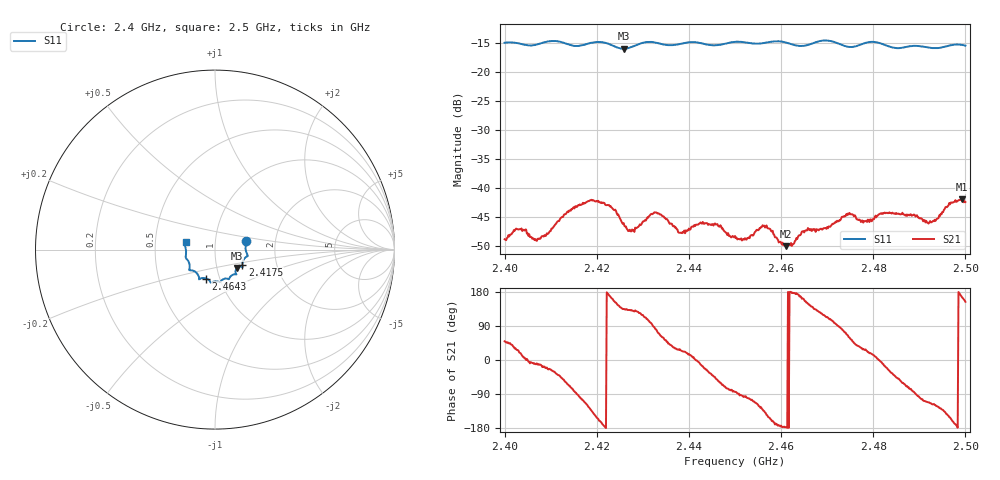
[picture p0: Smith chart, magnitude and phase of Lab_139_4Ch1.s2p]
# Hz S RI R 50
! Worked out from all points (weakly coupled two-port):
!   601 points, 2.4 GHz to 2.5 GHz, reference 50 ohm
!   highest |S21| = -42.00 dB at 2.4992 GHz (marker M1); lowest = -50.1 dB at 2.461 GHz (marker M2)
!   lowest |S11| = -16.0 dB at 2.4258 GHz (marker M3), VSWR 1.38, Z = 62.3 - j13.2 ohm
!   |S11| at or under -10 dB: start of sweep to end of sweep
!   S12 and S22 are empty: the file has one direction only
!   S11 on the Smith chart (normalised r, x): 2.4 GHz: 1.41, +0.14; 2.4175 GHz: 1.34, -0.23; 2.4643 GHz: 0.86, -0.29; 2.5 GHz: 0.72, +0.06
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2.4e9  0.173 0.0486  0.00234 0.00272  0 0  0 0
2.403167e9  0.174 0.0328  0.00411 0.0015  0 0  0 0
2.407333e9  0.1743 -0.0138  0.00354 -0.000682  0 0  0 0
2.416667e9  0.1532 -0.0741  -0.00147 -0.00699  0 0  0 0
2.4175e9  0.1522 -0.0837  -0.00287 -0.00678  0 0  0 0
2.422833e9  0.1466 -0.0946  -0.00677 0.00134  0 0  0 0
2.425833e9  0.1214 -0.1031  -0.00349 0.00351  0 0  0 0
2.427667e9  0.1146 -0.1198  -0.00281 0.00333  0 0  0 0
2.433333e9  0.1134 -0.1371  0.00194 0.00571  0 0  0 0
2.438167e9  0.082 -0.1553  0.00368 0.00177  0 0  0 0
2.4435e9  0.0669 -0.1614  0.00456 -0.00192  0 0  0 0
2.45e9  0.029 -0.1808  0.000386 -0.00381  0 0  0 0
2.456333e9  -0.00873 -0.1788  -0.00332 -0.00334  0 0  0 0
2.461e9  -0.0267 -0.1788  -0.00313 -0.000156  0 0  0 0
2.464333e9  -0.05 -0.161  -0.00387 0.000925  0 0  0 0
2.466667e9  -0.076 -0.1594  -0.00327 0.00268  0 0  0 0
2.474667e9  -0.1029 -0.1297  0.00289 0.00512  0 0  0 0
2.478167e9  -0.1364 -0.1153  0.0046 0.0023  0 0  0 0
2.483333e9  -0.1411 -0.0902  0.00542 -0.00268  0 0  0 0
2.492333e9  -0.1612 -0.022  -0.00208 -0.00472  0 0  0 0
2.499167e9  -0.1681 0.0381  -0.00777 0.00164  0 0  0 0
2.5e9  -0.1642 0.0431  -0.00675 0.00335  0 0  0 0
